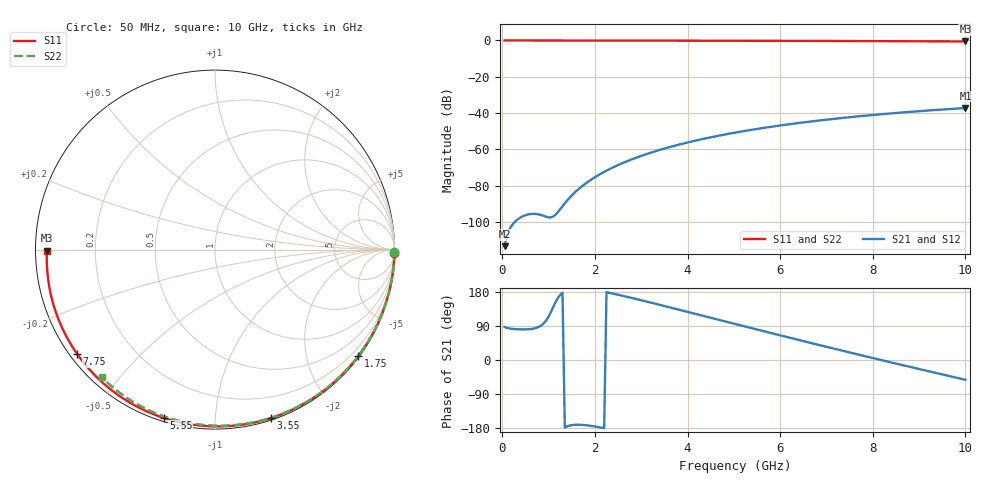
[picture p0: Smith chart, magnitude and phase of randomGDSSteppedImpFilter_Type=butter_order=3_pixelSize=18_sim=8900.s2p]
! freq	dB(S11)	phase(S11)	dB(S12)	phase(S12)
!  dB(S21)	phase(S21)	dB(S22)	phase(S22)
!S-par simulation data
#  GHz  S  DB  R 50
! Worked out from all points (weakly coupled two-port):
!   200 points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, 50 MHz to 10 GHz, reference 50 ohm
!   highest |S21| = -37.21 dB at 10 GHz (marker M1); lowest = -113.2 dB at 50 MHz (marker M2)
!   lowest |S11| = -0.6 dB at 10 GHz (marker M3), VSWR 30.51, Z = 1.64 - j0.153 ohm
!   |S11| at or under -10 dB: nowhere
!   |S22| runs from -0.4 to 0.0 dB; largest |S21 - S12| = 0
!   S11 on the Smith chart (normalised r, x): 50 MHz: open; 1.75 GHz: 0.03, -3.03; 3.55 GHz: 0.02, -1.39; 5.55 GHz: 0.02, -0.74; 7.75 GHz: 0.02, -0.34; 10 GHz: 0.03, -0.00
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0.05  -0.00 -1.1  -113.24 87.1  -113.24 87.1  -0.00 -0.8
0.45  -0.01 -9.6  -96.67 80.7  -96.67 80.7  -0.01 -6.8
0.85  -0.02 -18.0  -96.20 92.0  -96.20 92.0  -0.02 -12.9
1.25  -0.03 -26.3  -92.89 171.7  -92.89 171.7  -0.02 -18.8
1.7  -0.04 -35.5  -80.68 -171.1  -80.68 -171.1  -0.03 -25.5
1.75  -0.05 -36.5  -79.67 -171.5  -79.67 -171.5  -0.03 -26.2
2.05  -0.05 -42.6  -74.49 -176.5  -74.49 -176.5  -0.04 -30.6
2.25  -0.06 -46.6  -71.65 178.8  -71.65 178.8  -0.04 -33.6
2.45  -0.06 -50.5  -69.16 173.6  -69.16 173.6  -0.05 -36.5
2.9  -0.08 -59.3  -64.45 160.7  -64.45 160.7  -0.06 -42.9
3.4  -0.09 -68.8  -60.25 145.6  -60.25 145.6  -0.07 -50.0
3.55  -0.10 -71.6  -59.14 141.0  -59.14 141.0  -0.07 -52.1
4.3  -0.12 -85.3  -54.40 117.7  -54.40 117.7  -0.09 -62.3
5.05  -0.15 -98.5  -50.63 94.3  -50.63 94.3  -0.11 -72.3
5.55  -0.17 -107.0  -48.50 78.9  -48.50 78.9  -0.13 -78.8
6.1  -0.20 -116.2  -46.45 62.0  -46.45 62.0  -0.15 -85.8
6.7  -0.24 -126.0  -44.50 43.8  -44.50 43.8  -0.18 -93.2
7.25  -0.28 -134.9  -42.91 27.3  -42.91 27.3  -0.21 -99.9
7.75  -0.32 -142.9  -41.62 12.5  -41.62 12.5  -0.24 -105.8
8.35  -0.38 -152.5  -40.24 -5.1  -40.24 -5.1  -0.29 -112.8
9.2  -0.47 -166.3  -38.55 -29.5  -38.55 -29.5  -0.36 -122.6
10  -0.57 -179.6  -37.21 -52.1  -37.21 -52.1  -0.45 -131.6
